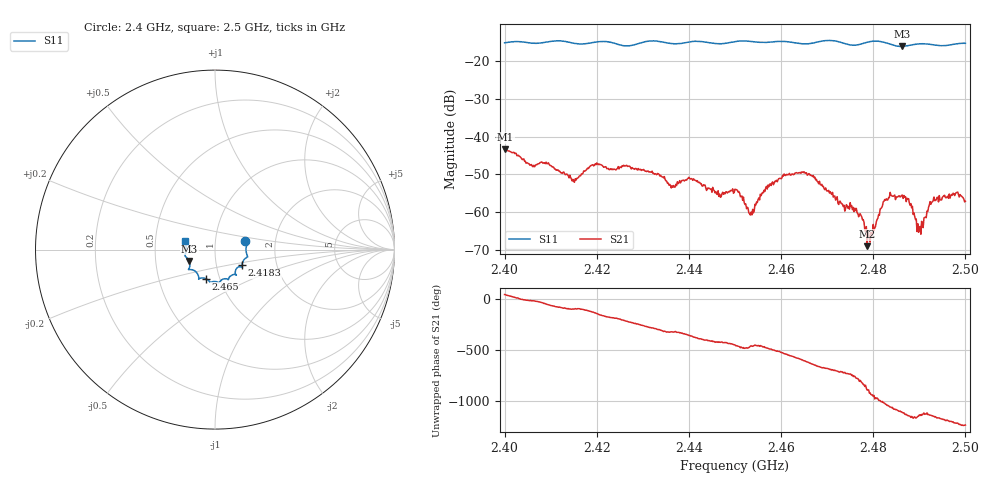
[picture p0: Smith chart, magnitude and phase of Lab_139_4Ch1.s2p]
# Hz S RI R 50
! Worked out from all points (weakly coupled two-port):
!   601 points, 2.4 GHz to 2.5 GHz, reference 50 ohm
!   highest |S21| = -43.35 dB at 2.4002 GHz (marker M1); lowest = -69.1 dB at 2.4787 GHz (marker M2)
!   lowest |S11| = -16.1 dB at 2.4862 GHz (marker M3), VSWR 1.37, Z = 37.2 - j4.83 ohm
!   |S11| at or under -10 dB: start of sweep to end of sweep
!   S12 and S22 are empty: the file has one direction only
!   S11 on the Smith chart (normalised r, x): 2.4 GHz: 1.40, +0.14; 2.4183 GHz: 1.33, -0.24; 2.465 GHz: 0.86, -0.28; 2.5 GHz: 0.71, +0.07
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2.4e9  0.169 0.047  0.00456 0.00501  0 0  0 0
2.400167e9  0.1701 0.046  0.00466 0.00496  0 0  0 0
2.415e9  0.1653 -0.052  -0.00024 -0.0025  0 0  0 0
2.416667e9  0.1548 -0.0683  -0.000385 -0.00317  0 0  0 0
2.418333e9  0.1503 -0.0871  -0.0016 -0.00353  0 0  0 0
2.433333e9  0.1177 -0.1409  0.00152 0.00282  0 0  0 0
2.4365e9  0.0955 -0.1416  0.00166 0.00131  0 0  0 0
2.440167e9  0.0758 -0.164  0.00276 0.000264  0 0  0 0
2.4465e9  0.049 -0.1632  0.000863 -0.00135  0 0  0 0
2.45e9  0.0263 -0.1802  3.23e-05 -0.002  0 0  0 0
2.4535e9  0.0169 -0.182  -0.000106 -0.000988  0 0  0 0
2.457667e9  -0.0145 -0.1787  -0.00149 -0.00182  0 0  0 0
2.465e9  -0.0526 -0.1614  -0.00148 0.00306  0 0  0 0
2.466667e9  -0.0714 -0.1576  0.000254 0.00302  0 0  0 0
2.476833e9  -0.1196 -0.1149  0.000297 -0.000809  0 0  0 0
2.478667e9  -0.1395 -0.1111  -0.000348 -4.38e-05  0 0  0 0
2.483333e9  -0.1411 -0.0965  0.00133 0.000792  0 0  0 0
2.486167e9  -0.1437 -0.0633  0.00147 -0.000763  0 0  0 0
2.488e9  -0.1563 -0.0465  0.000402 -0.00116  0 0  0 0
2.49e9  -0.1657 -0.0376  0.000319 -0.000498  0 0  0 0
2.4935e9  -0.1626 -0.0153  0.000382 -0.00136  0 0  0 0
2.5e9  -0.1664 0.0468  -0.00127 -0.000551  0 0  0 0
